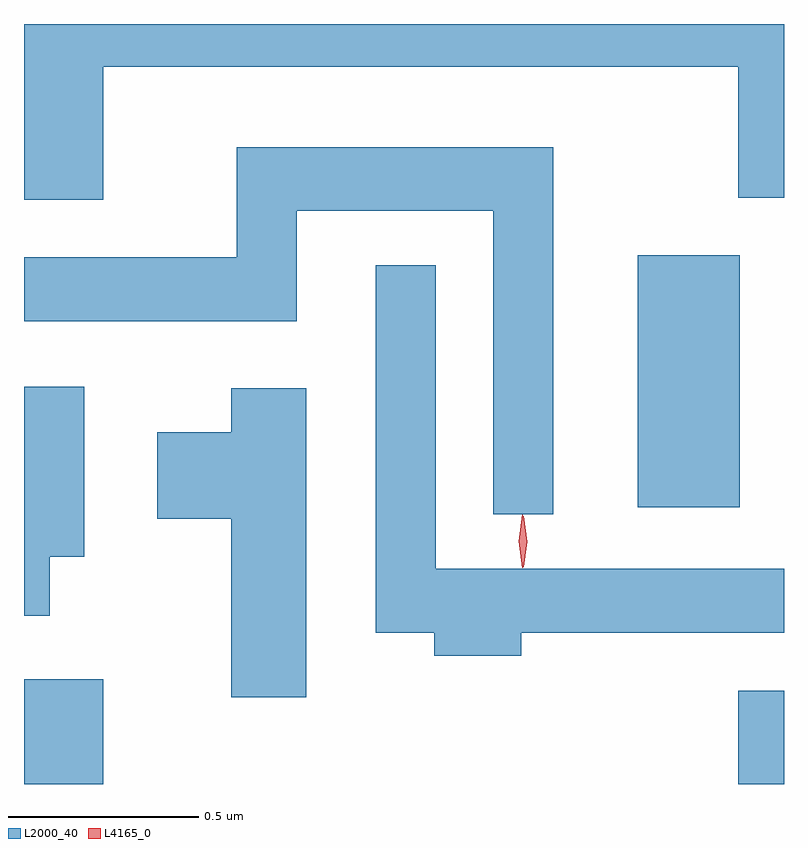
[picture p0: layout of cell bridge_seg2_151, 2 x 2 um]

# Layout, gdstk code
import gdstk
lib = gdstk.Library(unit=1e-6, precision=1e-09)
def R(c, l, rs):  # rectangles x0, y0, x1, y1
    for r in rs: c.add(gdstk.rectangle(r[:2], r[2:], *l))
def P(c, l, *ps):  # polygons
    for p in ps: c.add(gdstk.Polygon(p, *l))
L2000_40 = (2000, 40)
L4165_0 = (4165, 0)

bridge_seg2_151 = lib.new_cell('bridge_seg2_151')
R(bridge_seg2_151, L2000_40, [(1062.051,1104.148,1062.259,1104.424), (1063.931,1104.148,1064.051,1104.394), (1063.666,1104.876,1063.934,1105.539)])
P(bridge_seg2_151, L2000_40, [(1062.259,1106.036),(1063.931,1106.036),(1063.931,1105.691),(1064.051,1105.691),(1064.051,1106.148),(1062.051,1106.148),(1062.051,1105.686),(1062.259,1105.686)],
  [(1063.444,1105.824),(1062.611,1105.824),(1062.611,1105.534),(1062.051,1105.534),(1062.051,1105.366),(1062.769,1105.366),(1062.769,1105.656),(1063.286,1105.656),(1063.286,1104.858),(1063.444,1104.858)],
  [(1063.359,1104.546),(1064.051,1104.546),(1064.051,1104.714),(1063.134,1104.714),(1063.134,1105.513),(1062.976,1105.513),(1062.976,1104.546),(1063.131,1104.546),(1063.131,1104.486),(1063.359,1104.486)],
  [(1062.119,1104.746),(1062.209,1104.746),(1062.209,1105.194),(1062.051,1105.194),(1062.051,1104.591),(1062.119,1104.591)],
  [(1062.794,1105.189),(1062.596,1105.189),(1062.596,1105.074),(1062.401,1105.074),(1062.401,1104.846),(1062.596,1104.846),(1062.596,1104.376),(1062.794,1104.376)])
P(bridge_seg2_151, L4165_0, [(1063.362,1104.717),(1063.353,1104.787),(1063.362,1104.856),(1063.363,1104.856),(1063.363,1104.856),(1063.373,1104.787),(1063.363,1104.717),(1063.363,1104.717)],
  [(1063.365,1104.719),(1063.364,1104.72),(1063.355,1104.786),(1063.364,1104.852),(1063.365,1104.853),(1063.366,1104.852),(1063.375,1104.786),(1063.366,1104.72)])

lib.write_gds('bridge_seg2_151.gds')
